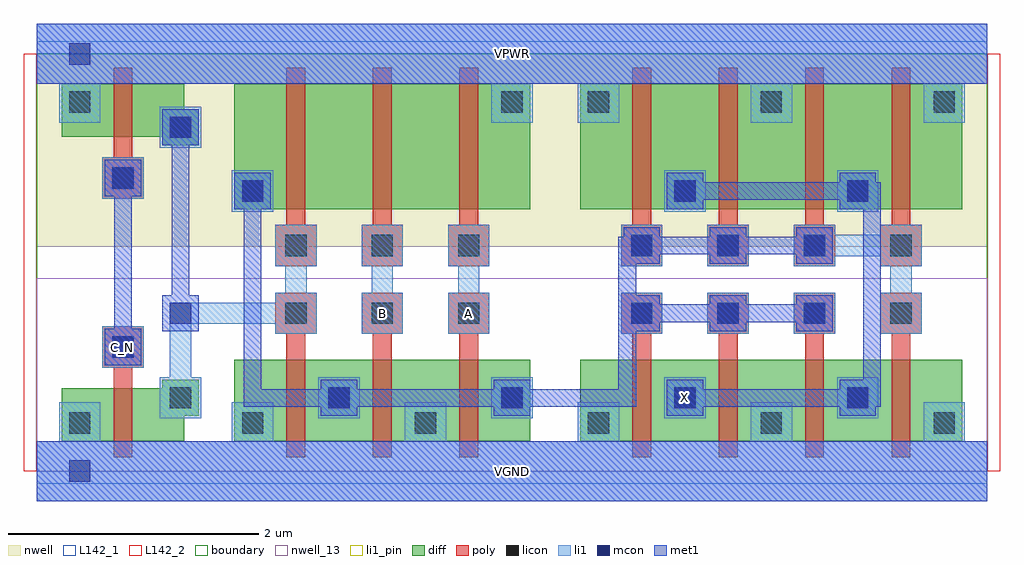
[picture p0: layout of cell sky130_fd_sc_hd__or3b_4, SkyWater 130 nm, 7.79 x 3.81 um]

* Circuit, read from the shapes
.subckt sky130_fd_sc_hd__or3b_4 A B C_N VGND VPWR X
XM1 n1 C_N VGND VSUBS sky130_fd_pr__nfet_01v8 w=0.42 l=0.15
XM2 n2 n1 VGND VSUBS sky130_fd_pr__nfet_01v8 w=0.65 l=0.15
XM3 VGND B n2 VSUBS sky130_fd_pr__nfet_01v8 w=0.65 l=0.15
XM4 n2 A VGND VSUBS sky130_fd_pr__nfet_01v8 w=0.65 l=0.15
XM5 X n2 VGND VSUBS sky130_fd_pr__nfet_01v8 w=0.65 l=0.15 m=4
XM6 n1 C_N VPWR n3 sky130_fd_pr__pfet_01v8 w=0.42 l=0.15
XM7 n4 n1 n2 n3 sky130_fd_pr__pfet_01v8 w=1 l=0.15
XM8 n5 B n4 n3 sky130_fd_pr__pfet_01v8 w=1 l=0.15
XM9 VPWR A n5 n3 sky130_fd_pr__pfet_01v8 w=1 l=0.15
XM10 X n2 VPWR n3 sky130_fd_pr__pfet_01v8 w=1 l=0.15 m=4
.ends

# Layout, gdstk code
import gdstk
lib = gdstk.Library(unit=1e-6, precision=1e-09)
def R(c, l, rs):  # rectangles x0, y0, x1, y1
    for r in rs: c.add(gdstk.rectangle(r[:2], r[2:], *l))
def A(c, l, x, y, w, h, nx, ny, dx, dy):  # array of equal rectangles
    R(c, l, [(x+i*dx, y+j*dy, x+i*dx+w, y+j*dy+h) for i in range(nx) for j in range(ny)])
def P(c, l, *ps):  # polygons
    for p in ps: c.add(gdstk.Polygon(p, *l))
nwell_13 = (64, 13)
nwell = (64, 20)
diff = (65, 20)
poly = (66, 20)
licon = (66, 44)
li1_pin = (67, 16)
li1 = (67, 20)
mcon = (67, 44)
met1 = (68, 20)
L142_1 = (142, 1)
L142_2 = (142, 2)
boundary = (235, 4)

sky130_fd_sc_hd__or3b_4 = lib.new_cell('sky130_fd_sc_hd__or3b_4')
R(sky130_fd_sc_hd__or3b_4, nwell_13, [(0,0,7.59,1.54)])
R(sky130_fd_sc_hd__or3b_4, nwell, [(0,1.79,7.59,3.33)])
A(sky130_fd_sc_hd__or3b_4, diff, 4.755, 0.24, 0.69, 0.65, 3, 1, 0.69, 0)
A(sky130_fd_sc_hd__or3b_4, diff, 4.755, 2.09, 0.69, 1, 3, 1, 0.69, 0)
R(sky130_fd_sc_hd__or3b_4, diff, [(0.2,0.24,1.18,0.66), (0.2,0.24,0.615,0.66), (1.58,0.24,3.94,0.89), (1.58,0.24,1.995,0.89), (1.995,0.24,2.685,0.89), (2.685,0.24,3.375,0.89), (3.375,0.24,3.94,0.89), (4.34,0.24,7.39,0.89), (4.34,0.24,4.755,0.89), (6.825,0.24,7.39,0.89), (1.58,2.09,3.94,3.09), (1.58,2.09,1.995,3.09), (1.995,2.09,2.685,3.09), (2.685,2.09,3.375,3.09), (3.375,2.09,3.94,3.09), (4.34,2.09,7.39,3.09), (4.34,2.09,4.755,3.09), (6.825,2.09,7.39,3.09), (0.2,2.67,1.18,3.09), (0.2,2.67,0.615,3.09)])
P(sky130_fd_sc_hd__or3b_4, diff, [(0.615,0.24),(0.615,0.66),(1.005,0.66),(1.005,0.73),(1.295,0.73),(1.295,0.44),(1.18,0.44),(1.18,0.24)],
  [(1.005,2.6),(1.005,2.67),(0.615,2.67),(0.615,3.09),(1.18,3.09),(1.18,2.89),(1.295,2.89),(1.295,2.6)])
P(sky130_fd_sc_hd__or3b_4, poly, [(2.685,0.11),(2.685,1.095),(2.595,1.095),(2.595,1.425),(2.925,1.425),(2.925,1.095),(2.835,1.095),(2.835,0.11)],
  [(2.595,1.635),(2.595,1.965),(2.685,1.965),(2.685,3.22),(2.835,3.22),(2.835,1.965),(2.925,1.965),(2.925,1.635)],
  [(4.755,0.11),(4.755,1.095),(4.665,1.095),(4.665,1.425),(4.995,1.425),(4.995,1.095),(4.905,1.095),(4.905,0.11)],
  [(5.445,0.11),(5.445,1.095),(5.355,1.095),(5.355,1.425),(5.685,1.425),(5.685,1.095),(5.595,1.095),(5.595,0.11)],
  [(6.135,0.11),(6.135,1.095),(6.045,1.095),(6.045,1.425),(6.375,1.425),(6.375,1.095),(6.285,1.095),(6.285,0.11)],
  [(6.825,0.11),(6.825,1.095),(6.735,1.095),(6.735,1.425),(7.065,1.425),(7.065,1.095),(6.975,1.095),(6.975,0.11)],
  [(4.665,1.635),(4.665,1.965),(4.755,1.965),(4.755,3.22),(4.905,3.22),(4.905,1.965),(4.995,1.965),(4.995,1.635)],
  [(5.355,1.635),(5.355,1.965),(5.445,1.965),(5.445,3.22),(5.595,3.22),(5.595,1.965),(5.685,1.965),(5.685,1.635)],
  [(6.045,1.635),(6.045,1.965),(6.135,1.965),(6.135,3.22),(6.285,3.22),(6.285,1.965),(6.375,1.965),(6.375,1.635)],
  [(6.735,1.635),(6.735,1.965),(6.825,1.965),(6.825,3.22),(6.975,3.22),(6.975,1.965),(7.065,1.965),(7.065,1.635)],
  [(1.995,0.11),(1.995,1.095),(1.905,1.095),(1.905,1.425),(2.235,1.425),(2.235,1.095),(2.145,1.095),(2.145,0.11)],
  [(1.905,1.635),(1.905,1.965),(1.995,1.965),(1.995,3.22),(2.145,3.22),(2.145,1.965),(2.235,1.965),(2.235,1.635)],
  [(3.375,0.11),(3.375,1.095),(3.285,1.095),(3.285,1.425),(3.615,1.425),(3.615,1.095),(3.525,1.095),(3.525,0.11)],
  [(3.285,1.635),(3.285,1.965),(3.375,1.965),(3.375,3.22),(3.525,3.22),(3.525,1.965),(3.615,1.965),(3.615,1.635)],
  [(0.615,0.11),(0.615,0.825),(0.525,0.825),(0.525,1.155),(0.855,1.155),(0.855,0.825),(0.765,0.825),(0.765,0.11)],
  [(0.525,2.175),(0.525,2.505),(0.615,2.505),(0.615,3.22),(0.765,3.22),(0.765,2.505),(0.855,2.505),(0.855,2.175)])
A(sky130_fd_sc_hd__or3b_4, licon, 0.26, 0.3, 0.17, 0.17, 6, 1, 1.38, 0)
A(sky130_fd_sc_hd__or3b_4, licon, 2.33, 0.5, 0.17, 0.17, 4, 1, 1.38, 0)
A(sky130_fd_sc_hd__or3b_4, licon, 1.985, 1.175, 0.17, 0.17, 3, 2, 0.69, 0.54)
A(sky130_fd_sc_hd__or3b_4, licon, 4.745, 1.175, 0.17, 0.17, 4, 2, 0.69, 0.54)
A(sky130_fd_sc_hd__or3b_4, licon, 4.4, 2.86, 0.17, 0.17, 3, 1, 1.38, 0)
R(sky130_fd_sc_hd__or3b_4, licon, [(1.065,0.5,1.235,0.67), (0.605,0.905,0.775,1.075), (1.64,2.15,1.81,2.32), (5.09,2.15,5.26,2.32), (6.47,2.15,6.64,2.32), (0.605,2.255,0.775,2.425), (1.065,2.66,1.235,2.83), (0.26,2.86,0.43,3.03), (3.71,2.86,3.88,3.03)])
R(sky130_fd_sc_hd__or3b_4, li1_pin, [(0,-0.24,7.59,0.24), (5.01,0.42,5.34,0.75), (0.525,0.825,0.855,1.155), (0,3.09,7.59,3.57)])
P(sky130_fd_sc_hd__or3b_4, li1_pin, [(2.595,1.095),(2.595,1.425),(2.675,1.425),(2.675,1.635),(2.595,1.635),(2.595,1.965),(2.925,1.965),(2.925,1.635),(2.845,1.635),(2.845,1.425),(2.925,1.425),(2.925,1.095)],
  [(3.285,1.095),(3.285,1.425),(3.365,1.425),(3.365,1.635),(3.285,1.635),(3.285,1.965),(3.615,1.965),(3.615,1.635),(3.535,1.635),(3.535,1.425),(3.615,1.425),(3.615,1.095)])
A(sky130_fd_sc_hd__or3b_4, li1, 2.25, 0.42, 0.33, 0.33, 4, 1, 1.38, 0)
A(sky130_fd_sc_hd__or3b_4, li1, 4.665, 1.095, 0.33, 0.33, 3, 1, 0.69, 0)
R(sky130_fd_sc_hd__or3b_4, li1, [(0.525,0.825,0.855,1.155), (4.665,1.635,4.995,1.965), (5.355,1.635,5.685,1.965), (1.56,2.07,1.89,2.4), (5.01,2.07,5.34,2.4), (6.39,2.07,6.72,2.4), (0.525,2.175,0.855,2.505), (0.985,2.58,1.315,2.91)])
P(sky130_fd_sc_hd__or3b_4, li1, [(2.595,1.095),(2.595,1.425),(2.675,1.425),(2.675,1.635),(2.595,1.635),(2.595,1.965),(2.925,1.965),(2.925,1.635),(2.845,1.635),(2.845,1.425),(2.925,1.425),(2.925,1.095)],
  [(6.735,1.095),(6.735,1.425),(6.815,1.425),(6.815,1.635),(6.735,1.635),(6.735,1.715),(6.375,1.715),(6.375,1.635),(6.045,1.635),(6.045,1.965),(6.375,1.965),(6.375,1.885),(6.735,1.885),(6.735,1.965),(7.065,1.965),(7.065,1.635),(6.985,1.635),(6.985,1.425),(7.065,1.425),(7.065,1.095)],
  [(0.18,2.78),(0.18,3.09),(0,3.09),(0,3.57),(7.59,3.57),(7.59,3.09),(7.41,3.09),(7.41,2.78),(7.08,2.78),(7.08,3.09),(6.03,3.09),(6.03,2.78),(5.7,2.78),(5.7,3.09),(4.65,3.09),(4.65,2.78),(4.32,2.78),(4.32,3.09),(3.96,3.09),(3.96,2.78),(3.63,2.78),(3.63,3.09),(0.51,3.09),(0.51,2.78)],
  [(0.985,0.42),(0.985,0.75),(1.065,0.75),(1.065,1.345),(1.905,1.345),(1.905,1.425),(1.985,1.425),(1.985,1.635),(1.905,1.635),(1.905,1.965),(2.235,1.965),(2.235,1.635),(2.155,1.635),(2.155,1.425),(2.235,1.425),(2.235,1.095),(1.905,1.095),(1.905,1.175),(1.235,1.175),(1.235,0.75),(1.315,0.75),(1.315,0.42)],
  [(0,-0.24),(0,0.24),(0.18,0.24),(0.18,0.55),(0.51,0.55),(0.51,0.24),(1.56,0.24),(1.56,0.55),(1.89,0.55),(1.89,0.24),(2.94,0.24),(2.94,0.55),(3.27,0.55),(3.27,0.24),(4.32,0.24),(4.32,0.55),(4.65,0.55),(4.65,0.24),(5.7,0.24),(5.7,0.55),(6.03,0.55),(6.03,0.24),(7.08,0.24),(7.08,0.55),(7.41,0.55),(7.41,0.24),(7.59,0.24),(7.59,-0.24)],
  [(3.285,1.095),(3.285,1.425),(3.365,1.425),(3.365,1.635),(3.285,1.635),(3.285,1.965),(3.615,1.965),(3.615,1.635),(3.535,1.635),(3.535,1.425),(3.615,1.425),(3.615,1.095)])
A(sky130_fd_sc_hd__or3b_4, mcon, 2.33, 0.5, 0.17, 0.17, 4, 1, 1.38, 0)
A(sky130_fd_sc_hd__or3b_4, mcon, 4.745, 1.175, 0.17, 0.17, 3, 2, 0.69, 0.54)
R(sky130_fd_sc_hd__or3b_4, mcon, [(0.26,-0.085,0.43,0.085), (0.605,0.905,0.775,1.075), (1.065,1.175,1.235,1.345), (1.64,2.15,1.81,2.32), (5.09,2.15,5.26,2.32), (6.47,2.15,6.64,2.32), (0.605,2.255,0.775,2.425), (1.065,2.66,1.235,2.83), (0.26,3.245,0.43,3.415)])
R(sky130_fd_sc_hd__or3b_4, met1, [(0,-0.24,7.59,0.24), (0,3.09,7.59,3.57)])
P(sky130_fd_sc_hd__or3b_4, met1, [(2.27,0.44),(2.27,0.515),(1.655,0.515),(1.655,2.09),(1.58,2.09),(1.58,2.38),(1.87,2.38),(1.87,2.09),(1.795,2.09),(1.795,0.655),(2.27,0.655),(2.27,0.73),(2.56,0.73),(2.56,0.655),(3.65,0.655),(3.65,0.73),(3.94,0.73),(3.94,0.655),(4.645,0.655),(4.645,1.87),(4.685,1.87),(4.685,1.945),(4.975,1.945),(4.975,1.87),(5.375,1.87),(5.375,1.945),(5.665,1.945),(5.665,1.87),(6.065,1.87),(6.065,1.945),(6.355,1.945),(6.355,1.655),(6.065,1.655),(6.065,1.73),(5.665,1.73),(5.665,1.655),(5.375,1.655),(5.375,1.73),(4.975,1.73),(4.975,1.655),(4.785,1.655),(4.785,1.405),(4.975,1.405),(4.975,1.33),(5.375,1.33),(5.375,1.405),(5.665,1.405),(5.665,1.33),(6.065,1.33),(6.065,1.405),(6.355,1.405),(6.355,1.115),(6.065,1.115),(6.065,1.19),(5.665,1.19),(5.665,1.115),(5.375,1.115),(5.375,1.19),(4.975,1.19),(4.975,1.115),(4.785,1.115),(4.785,0.515),(3.94,0.515),(3.94,0.44),(3.65,0.44),(3.65,0.515),(2.56,0.515),(2.56,0.44)],
  [(1.005,1.115),(1.005,1.405),(1.08,1.405),(1.08,2.6),(1.005,2.6),(1.005,2.89),(1.295,2.89),(1.295,2.6),(1.22,2.6),(1.22,1.405),(1.295,1.405),(1.295,1.115)],
  [(5.03,0.44),(5.03,0.73),(5.32,0.73),(5.32,0.655),(6.41,0.655),(6.41,0.73),(6.6,0.73),(6.6,2.09),(6.41,2.09),(6.41,2.165),(5.32,2.165),(5.32,2.09),(5.03,2.09),(5.03,2.38),(5.32,2.38),(5.32,2.305),(6.41,2.305),(6.41,2.38),(6.7,2.38),(6.7,2.305),(6.74,2.305),(6.74,0.515),(6.7,0.515),(6.7,0.44),(6.41,0.44),(6.41,0.515),(5.32,0.515),(5.32,0.44)],
  [(0.545,0.845),(0.545,1.135),(0.62,1.135),(0.62,2.195),(0.545,2.195),(0.545,2.485),(0.835,2.485),(0.835,2.195),(0.76,2.195),(0.76,1.135),(0.835,1.135),(0.835,0.845)])
R(sky130_fd_sc_hd__or3b_4, L142_1, [(0,-0.1,7.59,0), (0,3.33,7.59,3.43)])
R(sky130_fd_sc_hd__or3b_4, L142_2, [(-0.1,0,0,3.33), (7.59,0,7.69,3.33)])
R(sky130_fd_sc_hd__or3b_4, boundary, [(0,0,7.59,3.33)])
sky130_fd_sc_hd__or3b_4.add(gdstk.Label('X', (5.175,0.585), layer=67, texttype=5))
sky130_fd_sc_hd__or3b_4.add(gdstk.Label('C_N', (0.69,0.99), layer=67, texttype=5))
sky130_fd_sc_hd__or3b_4.add(gdstk.Label('B', (2.76,1.26), layer=67, texttype=5))
sky130_fd_sc_hd__or3b_4.add(gdstk.Label('A', (3.45,1.26), layer=67, texttype=5))
sky130_fd_sc_hd__or3b_4.add(gdstk.Label('VGND', (3.795,0), layer=67, texttype=5))
sky130_fd_sc_hd__or3b_4.add(gdstk.Label('VPWR', (3.795,3.33), layer=67, texttype=5))
sky130_fd_sc_hd__or3b_4.add(gdstk.Label('VGND', (3.795,0), layer=68, texttype=5))
sky130_fd_sc_hd__or3b_4.add(gdstk.Label('VPWR', (3.795,3.33), layer=68, texttype=5))

lib.write_gds('sky130_fd_sc_hd__or3b_4.gds')
